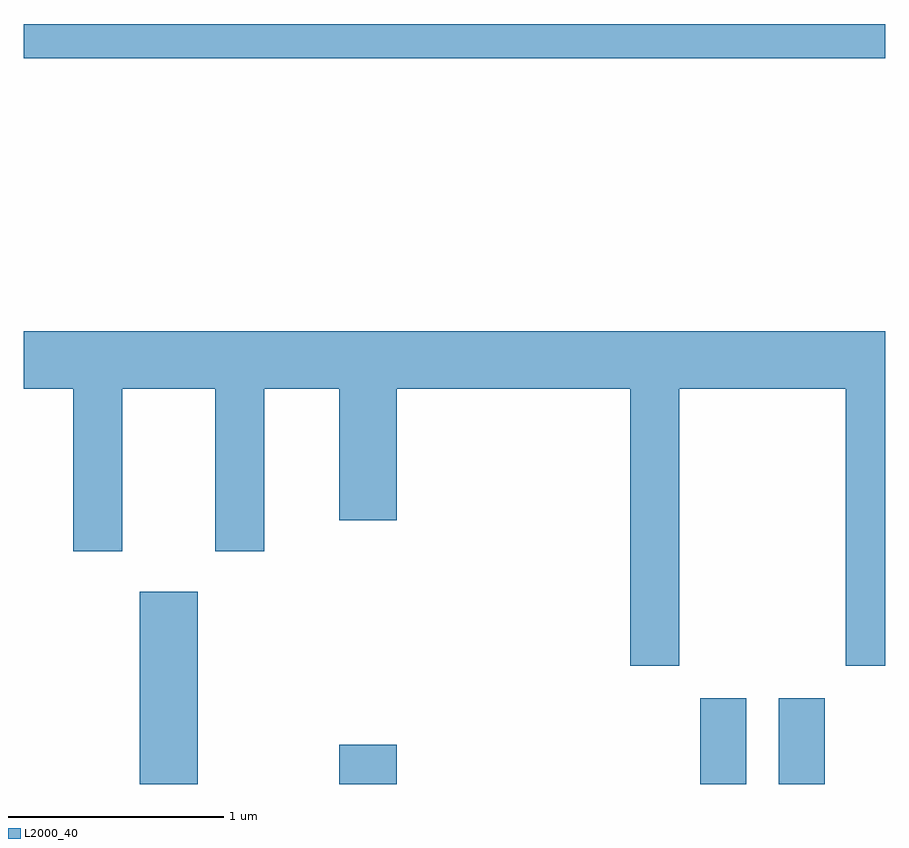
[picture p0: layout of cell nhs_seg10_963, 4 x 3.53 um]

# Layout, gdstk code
import gdstk
lib = gdstk.Library(unit=1e-6, precision=1e-09)
def R(c, l, rs):  # rectangles x0, y0, x1, y1
    for r in rs: c.add(gdstk.rectangle(r[:2], r[2:], *l))
def P(c, l, *ps):  # polygons
    for p in ps: c.add(gdstk.Polygon(p, *l))
L2000_40 = (2000, 40)

nhs_seg10_963 = lib.new_cell('nhs_seg10_963')
R(nhs_seg10_963, L2000_40, [(214.151,2116.522,214.419,2117.414), (215.076,2116.522,215.344,2116.704), (216.751,2116.522,216.964,2116.919), (217.116,2116.522,217.329,2116.919), (213.611,2119.891,217.611,2120.049)])
P(nhs_seg10_963, L2000_40, [(216.654,2118.356),(217.426,2118.356),(217.426,2117.071),(217.611,2117.071),(217.611,2118.624),(213.611,2118.624),(213.611,2118.356),(213.841,2118.356),(213.841,2117.601),(214.069,2117.601),(214.069,2118.356),(214.501,2118.356),(214.501,2117.601),(214.729,2117.601),(214.729,2118.356),(215.076,2118.356),(215.076,2117.746),(215.344,2117.746),(215.344,2118.356),(216.426,2118.356),(216.426,2117.071),(216.654,2117.071)])

lib.write_gds('nhs_seg10_963.gds')
